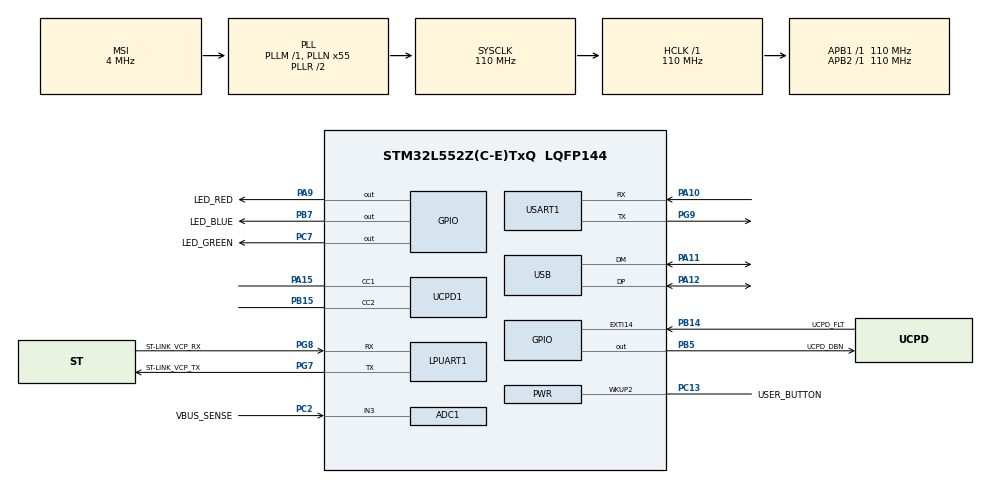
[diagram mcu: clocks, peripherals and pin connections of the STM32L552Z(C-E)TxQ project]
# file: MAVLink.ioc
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ADC1.Channel-0\#ChannelRegularConversion=ADC_CHANNEL_3
ADC1.NbrOfConversionFlag=1
ADC1.OffsetNumber-0\#ChannelRegularConversion=ADC_OFFSET_NONE
ADC1.Rank-0\#ChannelRegularConversion=1
ADC1.SamplingTime-0\#ChannelRegularConversion=ADC_SAMPLETIME_2CYCLES_5
ADC1.master=1
Mcu.Family=STM32L5
Mcu.Name=STM32L552Z(C-E)TxQ
Mcu.Package=LQFP144
Mcu.TrustZone=disable
NVIC.PriorityGroup=NVIC_PRIORITYGROUP_3
PA10.Mode=Asynchronous
PA10.Signal=USART1_RX
PA11.Mode=Device
PA11.Signal=USB_DM
PA12.Mode=Device
PA12.Signal=USB_DP
PA13\ (JTMS/SWDIO).Mode=Trace_Asynchronous_SW
PA13\ (JTMS/SWDIO).Signal=DEBUG_JTMS-SWDIO
PA14\ (JTCK/SWCLK).Mode=Trace_Asynchronous_SW
PA14\ (JTCK/SWCLK).Signal=DEBUG_JTCK-SWCLK
PA15\ (JTDI).Mode=Source_AllSignals
PA15\ (JTDI).Signal=UCPD1_CC1
PA9.GPIO_Label=LED_RED
PA9.Signal=GPIO_Output
PB14.GPIO_Label=UCPD_FLT
PB14.Signal=GPXTI14
PB15.Mode=Source_AllSignals
PB15.Signal=UCPD1_CC2
PB3\ (JTDO/TRACESWO).Mode=Trace_Asynchronous_SW
PB3\ (JTDO/TRACESWO).Signal=DEBUG_JTDO-SWO
PB5.GPIO_Label=UCPD_DBN
PB5.Signal=GPIO_Output
PB7.GPIO_Label=LED_BLUE
PB7.Signal=GPIO_Output
PC13.GPIO_Label=USER_BUTTON
PC13.Mode=WakeUp1
PC13.Signal=PWR_WKUP2
PC14-OSC32_IN\ (PC14).Mode=LSE-External-Oscillator
PC14-OSC32_IN\ (PC14).Signal=RCC_OSC32_IN
PC15-OSC32_OUT\ (PC15).Mode=LSE-External-Oscillator
PC15-OSC32_OUT\ (PC15).Signal=RCC_OSC32_OUT
PC2.GPIO_Label=VBUS_SENSE
PC2.Signal=ADCx_IN3
PC7.GPIO_Label=LED_GREEN
PC7.Signal=GPIO_Output
PG7.GPIO_Label=ST-LINK_VCP_TX
PG7.Mode=Asynchronous
PG7.Signal=LPUART1_TX
PG8.GPIO_Label=ST-LINK_VCP_RX
PG8.Mode=Asynchronous
PG8.Signal=LPUART1_RX
PG9.Mode=Asynchronous
PG9.Signal=USART1_TX
ProjectManager.HeapSize=0x200
ProjectManager.StackSize=0x400
ProjectManager.TargetToolchain=STM32CubeIDE
RCC.ADCCLockSelection=RCC_ADCCLKSOURCE_SYSCLK
RCC.ADCFreq_Value=110000000
RCC.AHBFreq_Value=110000000
RCC.APB1Freq_Value=110000000
RCC.APB1TimFreq_Value=110000000
RCC.APB2Freq_Value=110000000
RCC.APB2TimFreq_Value=110000000
RCC.CK48CLockSelection=RCC_USBCLKSOURCE_HSI48
RCC.CortexFreq_Value=110000000
RCC.HCLKFreq_Value=110000000
RCC.HSE_VALUE=8000000
RCC.HSI48_VALUE=48000000
RCC.HSI_VALUE=16000000
RCC.MSI_VALUE=4000000
RCC.PLLN=55
RCC.PLLSAI1N=24
RCC.RTCClockSelection=RCC_RTCCLKSOURCE_LSE
RCC.SYSCLKFreq_VALUE=110000000
RCC.SYSCLKSource=RCC_SYSCLKSOURCE_PLLCLK
RCC.USBFreq_Value=48000000
RCC.VCOOutputFreq_Value=220000000
SH.ADCx_IN3.0=ADC1_IN3,IN3-Single-Ended
USART1.VirtualMode-Asynchronous=VM_ASYNC
VP_PWR_VS_DBSignals.Mode=DisableDeadBatterySignals
VP_RTC_VS_RTC_Activate.Mode=RTC_Enabled
board=NUCLEO-L552ZE-Q

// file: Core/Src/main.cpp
/* USER CODE BEGIN Header */
/**
  ******************************************************************************
  * @file           : main.c
  * @brief          : Main program body
  ******************************************************************************
  * @attention
  *
  * Copyright (c) 2023 STMicroelectronics.
  * All rights reserved.
  *
  * This software is licensed under terms that can be found in the LICENSE file
  * in the root directory of this software component.
  * If no LICENSE file comes with this software, it is provided AS-IS.
  *
  ******************************************************************************
  */
/* USER CODE END Header */
#include "main.h"
#include "adc.h"
#include "usart.h"
#include "rtc.h"
#include "ucpd.h"
#include "usb.h"
#include "gpio.h"

/* USER CODE BEGIN Includes */
#include <stdio.h>
#include <string.h>
#include <stdarg.h> //for va_list var arg functions

#include "LOS_Mav.hpp"
/* USER CODE END Includes */

/* USER CODE BEGIN PV */
UART_HandleTypeDef* LOS_MAV_HUART_HANDLE = &huart1;
/* USER CODE END PV */

void SystemClock_Config(void);
/* USER CODE BEGIN PFP */
void myprintf(const char *fmt, ...);
/* USER CODE END PFP */

/* USER CODE BEGIN 0 */
void myprintf(const char *fmt, ...)
{
  static char buffer[256];
  va_list args;
  va_start(args, fmt);
  vsnprintf(buffer, sizeof(buffer), fmt, args);
  va_end(args);

  int len = strlen(buffer);
  HAL_UART_Transmit(&hlpuart1, (uint8_t*)buffer, len, -1);
}

void testHeartbeat()
{
	Los_Mav* los_mav = &Los_Mav::getInstance();
	MAVLink_Message_t mavlink_message = {};
	uint8_t retval = 0;

	for (uint8_t i = 1; i <= 3; ++i) {
		myprintf("Round #%d\r\n", i);

		los_mav->sendHeartbeat();
		myprintf("Sent heartbeat\r\n");

		HAL_Delay(1000);

		retval = los_mav->receiveMessage(mavlink_message);

		if (retval && mavlink_message.message_id == MAVLINK_MSG_ID_HEARTBEAT) {
			myprintf("Received heartbeat:\r\n");
			myprintf("    type = %d\r\n", mavlink_message.heartbeat.type);
			myprintf("    system status = %d\r\n", mavlink_message.heartbeat.system_status);
			myprintf("    base mode = %d\r\n", mavlink_message.heartbeat.base_mode);
		} else {
			myprintf("Failed to receive heartbeat!\r\n");
		}
	}
}
/* USER CODE END 0 */

int main(void)
{

  /* MCU Configuration--------------------------------------------------------*/

  /* Reset of all peripherals, Initializes the Flash interface and the Systick. */
  HAL_Init();

  /* Configure the system clock */
  SystemClock_Config();

  /* Initialize all configured peripherals */
  MX_GPIO_Init();
  MX_ADC1_Init();
  MX_LPUART1_UART_Init();
  MX_RTC_Init();
  MX_UCPD1_Init();
  MX_USB_PCD_Init();
  MX_USART1_UART_Init();
  /* USER CODE BEGIN 2 */
  myprintf("\r\n--- MAVLink Heartbeat Test Start ---\r\n");
  testHeartbeat();
  myprintf("--- MAVLink Heartbeat Test End --- \r\n");
  /* USER CODE END 2 */

  /* Infinite loop */
  while (1)
  {

  }
}

void SystemClock_Config(void)
{
  RCC_OscInitTypeDef RCC_OscInitStruct = {0};
  RCC_ClkInitTypeDef RCC_ClkInitStruct = {0};

  /** Configure the main internal regulator output voltage
  */
  if (HAL_PWREx_ControlVoltageScaling(PWR_REGULATOR_VOLTAGE_SCALE0) != HAL_OK)
  {
    Error_Handler();
  }

  /** Configure LSE Drive Capability
  */
  HAL_PWR_EnableBkUpAccess();
  __HAL_RCC_LSEDRIVE_CONFIG(RCC_LSEDRIVE_LOW);

  /** Initializes the RCC Oscillators according to the specified parameters
  * in the RCC_OscInitTypeDef structure.
  */
  RCC_OscInitStruct.OscillatorType = RCC_OSCILLATORTYPE_HSI48|RCC_OSCILLATORTYPE_LSE
                              |RCC_OSCILLATORTYPE_MSI;
  RCC_OscInitStruct.LSEState = RCC_LSE_ON;
  RCC_OscInitStruct.HSI48State = RCC_HSI48_ON;
  RCC_OscInitStruct.MSIState = RCC_MSI_ON;
  RCC_OscInitStruct.MSICalibrationValue = RCC_MSICALIBRATION_DEFAULT;
  RCC_OscInitStruct.MSIClockRange = RCC_MSIRANGE_6;
  RCC_OscInitStruct.PLL.PLLState = RCC_PLL_ON;
  RCC_OscInitStruct.PLL.PLLSource = RCC_PLLSOURCE_MSI;
  RCC_OscInitStruct.PLL.PLLM = 1;
  RCC_OscInitStruct.PLL.PLLN = 55;
  RCC_OscInitStruct.PLL.PLLP = RCC_PLLP_DIV7;
  RCC_OscInitStruct.PLL.PLLQ = RCC_PLLQ_DIV2;
  RCC_OscInitStruct.PLL.PLLR = RCC_PLLR_DIV2;
  if (HAL_RCC_OscConfig(&RCC_OscInitStruct) != HAL_OK)
  {
    Error_Handler();
  }

  /** Initializes the CPU, AHB and APB buses clocks
  */
  RCC_ClkInitStruct.ClockType = RCC_CLOCKTYPE_HCLK|RCC_CLOCKTYPE_SYSCLK
                              |RCC_CLOCKTYPE_PCLK1|RCC_CLOCKTYPE_PCLK2;
  RCC_ClkInitStruct.SYSCLKSource = RCC_SYSCLKSOURCE_PLLCLK;
  RCC_ClkInitStruct.AHBCLKDivider = RCC_SYSCLK_DIV1;
  RCC_ClkInitStruct.APB1CLKDivider = RCC_HCLK_DIV1;
  RCC_ClkInitStruct.APB2CLKDivider = RCC_HCLK_DIV1;

  if (HAL_RCC_ClockConfig(&RCC_ClkInitStruct, FLASH_LATENCY_5) != HAL_OK)
  {
    Error_Handler();
  }
}

void Error_Handler(void)
{
  __disable_irq();
  while (1)
  {
  }
}
